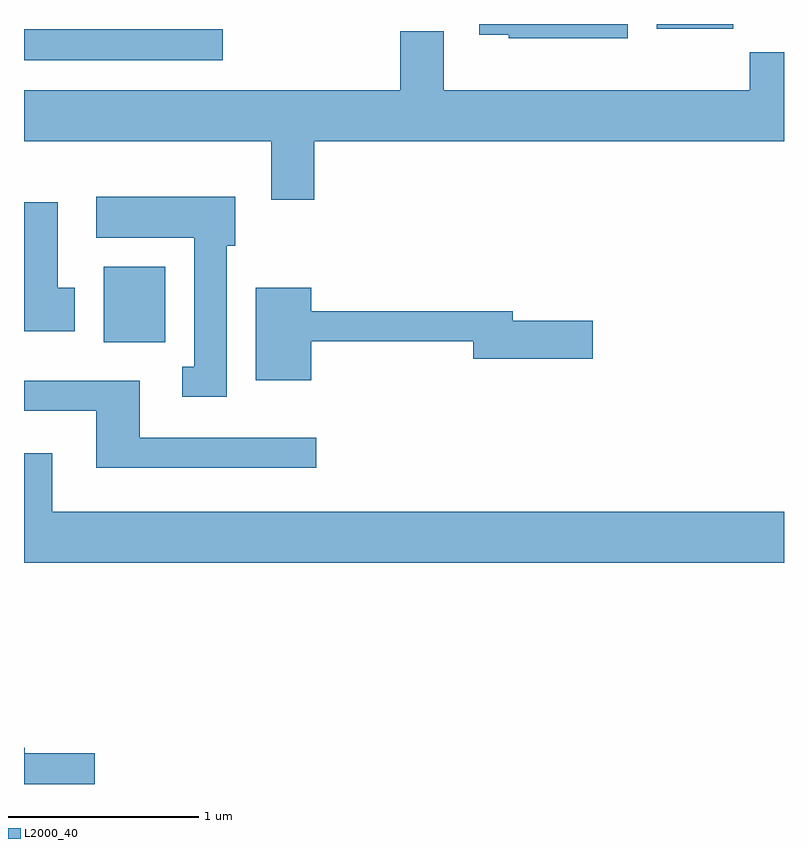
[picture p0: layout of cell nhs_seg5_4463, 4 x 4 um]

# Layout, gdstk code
import gdstk
lib = gdstk.Library(unit=1e-6, precision=1e-09)
def R(c, l, rs):  # rectangles x0, y0, x1, y1
    for r in rs: c.add(gdstk.rectangle(r[:2], r[2:], *l))
def P(c, l, *ps):  # polygons
    for p in ps: c.add(gdstk.Polygon(p, *l))
L2000_40 = (2000, 40)

nhs_seg5_4463 = lib.new_cell('nhs_seg5_4463')
R(nhs_seg5_4463, L2000_40, [(318.031,1462.396,318.354,1462.794), (317.611,1463.881,318.658,1464.044), (320.941,1464.046,321.344,1464.072)])
P(nhs_seg5_4463, L2000_40, [(320.789,1464.072),(320.006,1464.072),(320.006,1464.016),(320.161,1464.016),(320.161,1463.996),(320.789,1463.996)],
  [(319.139,1463.456),(321.611,1463.456),(321.611,1463.924),(321.431,1463.924),(321.431,1463.724),(319.819,1463.724),(319.819,1464.034),(319.591,1464.034),(319.591,1463.724),(317.611,1463.724),(317.611,1463.456),(318.911,1463.456),(318.911,1463.146),(319.139,1463.146)],
  [(318.679,1462.906),(318.724,1462.906),(318.724,1463.164),(317.991,1463.164),(317.991,1462.946),(318.506,1462.946),(318.506,1462.269),(318.443,1462.269),(318.443,1462.111),(318.679,1462.111)],
  [(317.879,1462.684),(317.789,1462.684),(317.789,1463.134),(317.611,1463.134),(317.611,1462.456),(317.879,1462.456)],
  [(319.124,1462.401),(319.976,1462.401),(319.976,1462.311),(320.604,1462.311),(320.604,1462.509),(320.184,1462.509),(320.184,1462.559),(319.124,1462.559),(319.124,1462.684),(318.831,1462.684),(318.831,1462.196),(319.124,1462.196)],
  [(319.148,1461.894),(318.219,1461.894),(318.219,1462.194),(317.611,1462.194),(317.611,1462.036),(317.991,1462.036),(317.991,1461.736),(319.148,1461.736)],
  [(321.611,1461.504),(317.759,1461.504),(317.759,1461.814),(317.611,1461.814),(317.611,1461.236),(321.611,1461.236)],
  [(317.984,1460.234),(317.614,1460.234),(317.614,1460.264),(317.611,1460.264),(317.611,1460.072),(317.984,1460.072)])

lib.write_gds('nhs_seg5_4463.gds')
